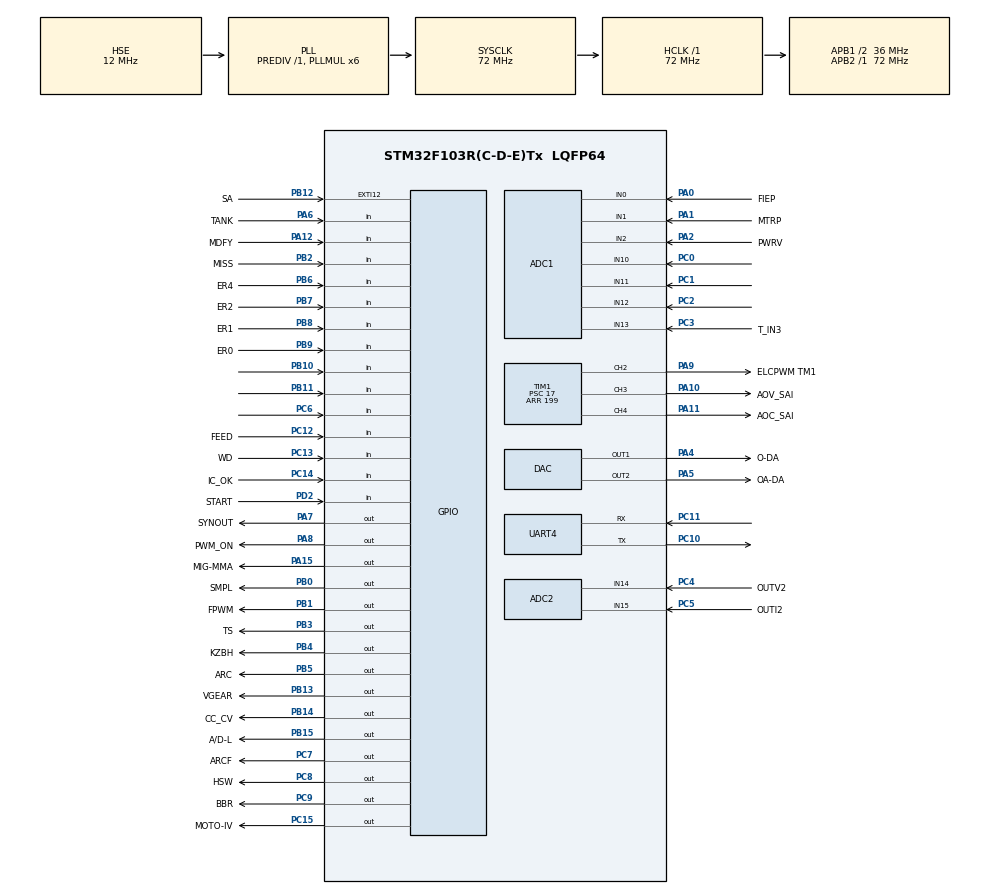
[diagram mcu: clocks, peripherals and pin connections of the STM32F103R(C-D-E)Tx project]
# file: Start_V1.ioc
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ADC1.Channel-0\#ChannelRegularConversion=ADC_CHANNEL_0
ADC1.Channel-1\#ChannelInjectedConversion=ADC_CHANNEL_12
ADC1.Channel-2\#ChannelInjectedConversion=ADC_CHANNEL_10
ADC1.Channel-3\#ChannelInjectedConversion=ADC_CHANNEL_11
ADC1.ContinuousConvMode=ENABLE
ADC1.EnableInjectedConversion=ENABLE
ADC1.InjNumberOfConversion=3
ADC1.InjectedConvMode=AutoInjected
ADC1.InjectedOffset-1\#ChannelInjectedConversion=0
ADC1.InjectedOffset-2\#ChannelInjectedConversion=0
ADC1.InjectedOffset-3\#ChannelInjectedConversion=0
ADC1.InjectedRank-1\#ChannelInjectedConversion=1
ADC1.InjectedRank-2\#ChannelInjectedConversion=2
ADC1.InjectedRank-3\#ChannelInjectedConversion=3
ADC1.NbrOfConversionFlag=1
ADC1.Rank-0\#ChannelRegularConversion=1
ADC1.SamplingTime-0\#ChannelRegularConversion=ADC_SAMPLETIME_7CYCLES_5
ADC1.SamplingTime-1\#ChannelInjectedConversion=ADC_SAMPLETIME_13CYCLES_5
ADC1.SamplingTime-2\#ChannelInjectedConversion=ADC_SAMPLETIME_13CYCLES_5
ADC1.SamplingTime-3\#ChannelInjectedConversion=ADC_SAMPLETIME_13CYCLES_5
ADC1.master=1
ADC2.Channel-8\#ChannelInjectedConversion=ADC_CHANNEL_15
ADC2.Channel-9\#ChannelRegularConversion=ADC_CHANNEL_14
ADC2.ContinuousConvMode=ENABLE
ADC2.EnableInjectedConversion=ENABLE
ADC2.EnableRegularConversion=ENABLE
ADC2.InjNumberOfConversion=1
ADC2.InjectedConvMode=AutoInjected
ADC2.InjectedOffset-8\#ChannelInjectedConversion=0
ADC2.InjectedRank-8\#ChannelInjectedConversion=1
ADC2.NbrOfConversionFlag=1
ADC2.Rank-9\#ChannelRegularConversion=1
ADC2.SamplingTime-8\#ChannelInjectedConversion=ADC_SAMPLETIME_41CYCLES_5
ADC2.SamplingTime-9\#ChannelRegularConversion=ADC_SAMPLETIME_41CYCLES_5
Mcu.Family=STM32F1
Mcu.Name=STM32F103R(C-D-E)Tx
Mcu.Package=LQFP64
NVIC.EXTI15_10_IRQn=true\:0\:0\:false\:false\:true\:true\:true\:true
NVIC.PriorityGroup=NVIC_PRIORITYGROUP_4
NVIC.TIM6_IRQn=true\:0\:0\:false\:false\:true\:true\:true\:true
NVIC.TIM7_IRQn=true\:0\:0\:false\:false\:true\:true\:true\:true
PA0-WKUP.GPIO_Label=FIEP
PA0-WKUP.Signal=ADCx_IN0
PA1.GPIO_Label=MTRP
PA1.Signal=ADCx_IN1
PA10.GPIO_Label=AOV_SAI
PA10.Signal=S_TIM1_CH3
PA11.GPIO_Label=AOC_SAI
PA11.Signal=S_TIM1_CH4
PA12.GPIO_Label=MDFY
PA12.Signal=GPIO_Input
PA15.GPIO_Label=MIG-MMA
PA15.Signal=GPIO_Output
PA2.GPIO_Label=PWRV
PA2.Signal=ADCx_IN2
PA4.GPIO_Label=O-DA
PA4.Signal=COMP_DAC1_group
PA5.GPIO_Label=OA-DA
PA5.Signal=COMP_DAC2_group
PA6.GPIO_Label=TANK
PA6.Signal=GPIO_Input
PA7.GPIO_Label=SYNOUT
PA7.Signal=GPIO_Output
PA8.GPIO_Label=PWM_ON
PA8.Signal=GPIO_Output
PA9.GPIO_Label=ELCPWM TM1
PA9.Signal=S_TIM1_CH2
PB0.GPIO_Label=SMPL
PB0.Signal=GPIO_Output
PB1.GPIO_Label=FPWM
PB1.Signal=GPIO_Output
PB10.Signal=GPIO_Input
PB11.Signal=GPIO_Input
PB12.GPIO_Label=SA
PB12.GPIO_ModeDefaultEXTI=GPIO_MODE_IT_RISING_FALLING
PB12.Signal=GPXTI12
PB13.GPIO_Label=VGEAR
PB13.Signal=GPIO_Output
PB14.GPIO_Label=CC_CV
PB14.Signal=GPIO_Output
PB15.GPIO_Label=A/D-L
PB15.Signal=GPIO_Output
PB2.GPIO_Label=MISS
PB2.Signal=GPIO_Input
PB3.GPIO_Label=TS
PB3.Signal=GPIO_Output
PB4.GPIO_Label=KZBH
PB4.Signal=GPIO_Output
PB5.GPIO_Label=ARC
PB5.Signal=GPIO_Output
PB6.GPIO_Label=ER4
PB6.Signal=GPIO_Input
PB7.GPIO_Label=ER2
PB7.Signal=GPIO_Input
PB8.GPIO_Label=ER1
PB8.Signal=GPIO_Input
PB9.GPIO_Label=ER0
PB9.Signal=GPIO_Input
PC0.Signal=ADCx_IN10
PC1.Signal=ADCx_IN11
PC10.Mode=Asynchronous
PC10.Signal=UART4_TX
PC11.Mode=Asynchronous
PC11.Signal=UART4_RX
PC12.GPIO_Label=FEED
PC12.Signal=GPIO_Input
PC13-TAMPER-RTC.GPIO_Label=WD
PC13-TAMPER-RTC.Signal=GPIO_Input
PC14-OSC32_IN.GPIO_Label=IC_OK
PC14-OSC32_IN.Signal=GPIO_Input
PC15-OSC32_OUT.GPIO_Label=MOTO-IV
PC15-OSC32_OUT.Signal=GPIO_Output
PC2.Signal=ADCx_IN12
PC3.GPIO_Label=T_IN3
PC3.Signal=ADCx_IN13
PC4.GPIO_Label=OUTV2
PC4.Signal=ADCx_IN14
PC5.GPIO_Label=OUTI2
PC5.Signal=ADCx_IN15
PC6.Signal=GPIO_Input
PC7.GPIO_Label=ARCF
PC7.Signal=GPIO_Output
PC8.GPIO_Label=HSW
PC8.Signal=GPIO_Output
PC9.GPIO_Label=BBR
PC9.Signal=GPIO_Output
PD0-OSC_IN.Mode=HSE-External-Oscillator
PD0-OSC_IN.Signal=RCC_OSC_IN
PD1-OSC_OUT.Mode=HSE-External-Oscillator
PD1-OSC_OUT.Signal=RCC_OSC_OUT
PD2.GPIO_Label=START
PD2.Signal=GPIO_Input
ProjectManager.HeapSize=0x200
ProjectManager.StackSize=0x400
ProjectManager.TargetToolchain=MDK-ARM V5.32
RCC.AHBFreq_Value=72000000
RCC.APB1CLKDivider=RCC_HCLK_DIV2
RCC.APB1Freq_Value=36000000
RCC.APB1TimFreq_Value=72000000
RCC.APB2Freq_Value=72000000
RCC.APB2TimFreq_Value=72000000
RCC.HCLKFreq_Value=72000000
RCC.HSE_VALUE=12000000
RCC.PLLMUL=RCC_PLL_MUL6
RCC.PLLSourceVirtual=RCC_PLLSOURCE_HSE
RCC.SYSCLKFreq_VALUE=72000000
RCC.SYSCLKSource=RCC_SYSCLKSOURCE_PLLCLK
RCC.USBFreq_Value=72000000
SH.ADCx_IN0.0=ADC1_IN0,IN0
SH.ADCx_IN1.0=ADC1_IN1,IN1
SH.ADCx_IN10.0=ADC1_IN10,IN10
SH.ADCx_IN11.0=ADC1_IN11,IN11
SH.ADCx_IN12.0=ADC1_IN12,IN12
SH.ADCx_IN13.0=ADC1_IN13,IN13
SH.ADCx_IN14.0=ADC2_IN14,IN14
SH.ADCx_IN15.0=ADC2_IN15,IN15
SH.ADCx_IN2.0=ADC1_IN2,IN2
SH.COMP_DAC1_group.0=DAC_OUT1,DAC_OUT1
SH.COMP_DAC2_group.0=DAC_OUT2,DAC_OUT2
SH.S_TIM1_CH2.0=TIM1_CH2,PWM Generation2 CH2
SH.S_TIM1_CH3.0=TIM1_CH3,PWM Generation3 CH3
SH.S_TIM1_CH4.0=TIM1_CH4,PWM Generation4 CH4
TIM1.Channel-PWM\ Generation2\ CH2=TIM_CHANNEL_2
TIM1.Channel-PWM\ Generation3\ CH3=TIM_CHANNEL_3
TIM1.Channel-PWM\ Generation4\ CH4=TIM_CHANNEL_4
TIM1.Period=199
TIM1.Prescaler=17
TIM6.Period=11
TIM6.Prescaler=35
TIM7.Period=99
TIM7.Prescaler=35
UART4.VirtualMode=Asynchronous
VP_SYS_VS_ND.Mode=No_Debug
VP_TIM1_VS_ClockSourceINT.Mode=Internal
VP_TIM6_VS_ClockSourceINT.Mode=Enable_Timer
VP_TIM7_VS_ClockSourceINT.Mode=Enable_Timer
board=custom

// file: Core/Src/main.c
/* USER CODE BEGIN Header */
/**
  ******************************************************************************
  * @file           : main.c
  * @brief          : Main program body
  ******************************************************************************
  * @attention
  *
  * Copyright (c) 2023 STMicroelectronics.
  * All rights reserved.
  *
  * This software is licensed under terms that can be found in the LICENSE file
  * in the root directory of this software component.
  * If no LICENSE file comes with this software, it is provided AS-IS.
  *
  ******************************************************************************
  */
/* USER CODE END Header */
#include "main.h"

/* USER CODE BEGIN Includes */

//#include "weld_struct.h"

/* USER CODE END Includes */

/* USER CODE BEGIN PD */

#define TS_On_state 1		//1 start
#define KZBH_On_state 1		//
#define ADI_On_state 1		//1 模拟  0 数字
#define MIGMMA_On_state 0			//1 手工焊   0 气保焊
#define MOTOIV_On_state 1
#define CCCV_On_state 0			//CC/CV 	1 OUT_I 0 OUT_V

#define DAC1_Value 2047

#if TS_On_state
	#define TS_state GPIO_PIN_SET
#elif	TS_On_state==0
	#define TS_state GPIO_PIN_RESET
#endif

#if KZBH_On_state
	#define KZBH_state GPIO_PIN_SET
#elif	KZBH_On_state==0
	#define KZBH_state GPIO_PIN_RESET
#endif

#if ADI_On_state
	#define ADI_state GPIO_PIN_SET
#elif ADI_On_state==0
	#define ADI_state GPIO_PIN_RESET
#endif

#if MIGMMA_On_state
	#define MIGMMA_state GPIO_PIN_SET
#elif	MIGMMA_On_state==0
	#define MIGMMA_state GPIO_PIN_RESET
#endif

#if MOTOIV_On_state
	#define MOTOIV_state GPIO_PIN_SET
#elif	MOTOIV_On_state==0
	#define MOTOIV_state GPIO_PIN_RESET
#endif

#if CCCV_On_state
	#define CCCV_state GPIO_PIN_SET
#elif	CCCV_On_state==0
	#define CCCV_state GPIO_PIN_RESET
#endif

/* USER CODE END PD */

ADC_HandleTypeDef hadc1;
ADC_HandleTypeDef hadc2;

DAC_HandleTypeDef hdac;

TIM_HandleTypeDef htim1;
TIM_HandleTypeDef htim6;
TIM_HandleTypeDef htim7;

UART_HandleTypeDef huart4;

/* USER CODE BEGIN PV */
uint8_t PWMON_State=0;			//PWMON启动标志符
uint8_t FPWM_State=0;			//FPWM标志符
uint8_t DA_State=0;				//DA启动标识符
uint8_t IO_Set=0;				//IO配置标志符
uint8_t DA_Set=1;				//DA配置标志符
uint8_t PWM_Set=1;				//PWM配置标志符
uint16_t ST_SAMPL_IT=0;			//ST采样标志符
uint16_t ALLSTATE_Set=0;		//各状态初始标志位
uint8_t SA_State=0;				//SA状态标志位
uint8_t UP_edge_signal=0;		//SA上升沿判断
uint8_t DOWN_edge_signal=0;		//SA下降沿判断
uint8_t Wave_control_signal=1;	//波形控制标识符
uint8_t Short_circuit_signal=0;
uint8_t Weld_Wire_Set=0;		//焊丝选取标志

//------------FB----------
uint16_t FB_FIEP[5]={0};
uint16_t FB_FIEP_PACK[15]={0};
volatile uint16_t FB_FIEP_NUM=0;
uint16_t FB_OUTI[5]={0};
uint16_t FB_OUTI_PACK[15]={0};
volatile uint16_t FB_OUTI_NUM=0;
uint16_t FB_OUTV[5]={0};
uint16_t FB_OUTV_PACK[15]={0};
volatile uint16_t FB_OUTV_NUM=0;
//------------ST-----------
uint16_t ST_FPWM[5]={0};
volatile uint16_t ST_FPWM_NUM=0;
uint16_t ST_EPWM[5]={0};
volatile uint16_t ST_EPWM_NUM=0;
uint16_t ST_OTDA[5]={0};
volatile uint16_t ST_OTDA_NUM=0;		//O-DA set

uint16_t ST_TEMP_1=0;		//SET_SAMPLE_TEMP
uint16_t ST_TEMP_2=0;
uint16_t ST_TEMP_3=0;
uint16_t EPWM_TEMP=0;

uint16_t AOC_SAI=0;
uint16_t AOV_SAI=0;

volatile uint8_t FEED_SLOW_Signal=0;	//1->ON 0->OFF
volatile uint8_t FEED_Growth_Signal=0;		//1->ON 0->OFF
volatile uint16_t FB_FIEP_I=0;
volatile int16_t FB_FIEP_D=0;

volatile uint8_t HQ_Detec_Back=0;
volatile uint8_t JS_Detec_Back=0;
volatile uint8_t ICOK_Detec_Back=0;

uint8_t HQ_temp[10]={0};
uint8_t JS_temp[10]={0};
uint8_t ICOK_temp[10]={0};
uint8_t HQ_state_temp=0;
uint8_t JS_state_temp=0;
uint8_t ICOK_state_temp=0;
uint8_t IOSP_IT=0;
uint8_t IOFB_IT=0;
uint8_t AVFB_IT=0;
volatile uint8_t res_count=0;

uint8_t SA_Prev=0;
uint16_t edge_count_it=0;

float Crt_div = 0;
float Vol_div = 0;
float Res_div = 0;

 GAS_WELDING_DATA Gas_a;
uint16_t* GMAW_GAS_Diam_Speed;
uint16_t* GMAW_GAS_Diam_Volt;
uint16_t* GMAW_GAS_Diam_Vc;
uint8_t* GMAW_GAS_Diam_Inductor;
uint8_t* GMAW_GAS_Diam_VSLOPE;

uint8_t i2c_temp=0;
//HAL_StatusTypeDef i2c_state=0;
//uint8_t i2c_buffer_write[32]={0};
//uint8_t i2c_buffer_recive[32]={0};
//uint8_t uart_buffer_recive[32]={0};

uint16_t TM7_count_temp=0;
uint16_t State_Delay_count=0;
uint16_t Edge_Delay_count=0;
uint16_t State_Delay_contain=0;
uint8_t inter_arc_signal=0;

extern uint16_t FPWM_Set;

extern uint16_t GMAW_GAS_Speed[50];
extern uint8_t GMAW_GAS_Inductor[50];
extern uint16_t GMAW_GAS_Vc[50];
extern uint8_t GMAW_GAS_VSLOPE[50];
extern uint16_t GMAW_GAS_Volt[50];

/* USER CODE END PV */

void SystemClock_Config(void);
static void MX_GPIO_Init(void);
static void MX_ADC1_Init(void);
static void MX_DAC_Init(void);
static void MX_TIM1_Init(void);
static void MX_ADC2_Init(void);
static void MX_TIM6_Init(void);
static void MX_TIM7_Init(void);
static void MX_UART4_Init(void);
/* USER CODE BEGIN PFP */
void Get_FB_FUN(void);
void Get_SP_FUN(void);
void Switch_State_FUN(void);
void Get_State_FUN(void);
void Weld_ERROR_Handler(void);
void Test_FUN(void);
void IT_Respond_FUN(void);
void Uart_Handler_FUN(void);

/* USER CODE END PFP */

/* USER CODE BEGIN 0 */
GMAWStatus_t GMAW_State=GMAW_STANDBY;

TASK_COMPONENTS Task_Comps[]=		//10 us per/count
{
//状态  计数  周期  函数
	{0,1,4,Get_FB_FUN},
	{0,3,4,Switch_State_FUN},
	{0,100,100,Get_State_FUN},
	{0,500,500,Get_SP_FUN},
//	{0,1,1,IT_Respond_FUN}
//	{0,2000,2000,Uart_Handler_FUN}
};

uint8_t Tasks_Max = sizeof(Task_Comps)/sizeof(Task_Comps[0]);

void Task_Pro_Handler_Callback(void)
{
	uint8_t i;
	for(i=0; i<Tasks_Max; i++)
	{
		if(Task_Comps[i].Run) /* If task can be run */
		{
			Task_Comps[i].Run = 0;    /* Flag clear 0 */
			Task_Comps[i].TaskHook();  /* Run task */
		}
	}
};

/* USER CODE END 0 */

int main(void)
{

  /* MCU Configuration--------------------------------------------------------*/

  /* Reset of all peripherals, Initializes the Flash interface and the Systick. */
  HAL_Init();

  /* Configure the system clock */
  SystemClock_Config();

  /* Initialize all configured peripherals */
  MX_GPIO_Init();
  MX_ADC1_Init();
  MX_DAC_Init();
  MX_TIM1_Init();
  MX_ADC2_Init();
  MX_TIM6_Init();
  MX_TIM7_Init();
  MX_UART4_Init();
  /* USER CODE BEGIN 2 */
	__HAL_RCC_AFIO_CLK_ENABLE();
	__HAL_AFIO_REMAP_SWJ_NOJTAG();

	IO_Set=1;
//	HAL_TIM_Base_Start_IT(&htim3);			//FPWM 启动
	FPWM_State=0;
//	HAL_TIM_PWM_Start(&htim1,TIM_CHANNEL_1);			//  PWMON 启动
	PWMON_State=0;

	HAL_TIM_Base_Start_IT(&htim7);		//Switch Delay Detect Timer 7

	HAL_TIM_PWM_Start(&htim1,TIM_CHANNEL_2);			//  ELCPWM 启动
	htim1.Instance->CCR2=100;

	HAL_TIM_PWM_Start(&htim1,TIM_CHANNEL_3);		//AOV_SAI
	htim1.Instance->CCR3=0;
	HAL_TIM_PWM_Start(&htim1,TIM_CHANNEL_4);		//AOC_SAI
	htim1.Instance->CCR4=0;

	HAL_ADC_Start(&hadc1);
	HAL_ADCEx_InjectedStart(&hadc1);
	HAL_ADC_Start(&hadc2);
	HAL_ADCEx_InjectedStart(&hadc2);
	/*--------------------ADC CONTROLL SCHEDULE-------------------------------------
	ADC1:		Regular Conv:
												RANK 1 :PA0 -> FIEP
					Inject	Conv:
												RANK 1 :PA1 -> MTRP/L
												RANK 2 :PA2 -> PWRV/I
												RANK 3: PC3	-> temp/V

	ADC2:		Regular Conv:
												RANK 1 :PC4 -> OUTV2
					Inject	Conv:
												RANK 1 :PC5 -> OUTI2
												RANK 2 :
												RANK 3:

	Renewal in 2023/12/25
	------------------------------------------------------------------------------*/

	HAL_DAC_SetValue(&hdac,DAC_CHANNEL_1,DAC_ALIGN_12B_R,DAC1_Value);
	HAL_DAC_Start(&hdac,DAC_CHANNEL_1);
	HAL_DAC_SetValue(&hdac,DAC_CHANNEL_2,DAC_ALIGN_12B_R,0);
	HAL_DAC_Start(&hdac,DAC_CHANNEL_2);

	if(IO_Set)			//IO Setting
	{
		HAL_GPIO_WritePin(GPIOB,GPIO_PIN_3,TS_state);		//TS
		HAL_GPIO_WritePin(GPIOB,GPIO_PIN_4,KZBH_state);		//KZBH
		HAL_GPIO_WritePin(GPIOB,GPIO_PIN_15,ADI_state);		//A/D-L
		HAL_GPIO_WritePin(GPIOA,GPIO_PIN_15,MIGMMA_state);		//MIGMMA
		HAL_GPIO_WritePin(GPIOB,GPIO_PIN_14,CCCV_state);

		HAL_GPIO_WritePin(GPIOC,GPIO_PIN_7,GPIO_PIN_RESET);	//ARCF
		HAL_GPIO_WritePin(GPIOC,GPIO_PIN_8,GPIO_PIN_RESET);	//HSW
		HAL_GPIO_WritePin(GPIOC,GPIO_PIN_9,GPIO_PIN_RESET);	//BBR

		HAL_GPIO_WritePin(GPIOA,GPIO_PIN_12,GPIO_PIN_RESET);	//MDFY
		HAL_GPIO_WritePin(GPIOB,GPIO_PIN_13,GPIO_PIN_RESET);	//VGEAR

		IO_Set--;			//configure in 1 times
	}

	ALLSTATE_Set ^=0x0001;

  /* USER CODE END 2 */

  /* Infinite loop */
  /* USER CODE BEGIN WHILE */
  while (1)
  {

		Task_Pro_Handler_Callback();

    /* USER CODE END WHILE */

  }
}

void SystemClock_Config(void)
{
  RCC_OscInitTypeDef RCC_OscInitStruct = {0};
  RCC_ClkInitTypeDef RCC_ClkInitStruct = {0};
  RCC_PeriphCLKInitTypeDef PeriphClkInit = {0};

  /** Initializes the RCC Oscillators according to the specified parameters
  * in the RCC_OscInitTypeDef structure.
  */
  RCC_OscInitStruct.OscillatorType = RCC_OSCILLATORTYPE_HSE;
  RCC_OscInitStruct.HSEState = RCC_HSE_ON;
  RCC_OscInitStruct.HSEPredivValue = RCC_HSE_PREDIV_DIV1;
  RCC_OscInitStruct.HSIState = RCC_HSI_ON;
  RCC_OscInitStruct.PLL.PLLState = RCC_PLL_ON;
  RCC_OscInitStruct.PLL.PLLSource = RCC_PLLSOURCE_HSE;
  RCC_OscInitStruct.PLL.PLLMUL = RCC_PLL_MUL6;
  if (HAL_RCC_OscConfig(&RCC_OscInitStruct) != HAL_OK)
  {
    Error_Handler();
  }

  /** Initializes the CPU, AHB and APB buses clocks
  */
  RCC_ClkInitStruct.ClockType = RCC_CLOCKTYPE_HCLK|RCC_CLOCKTYPE_SYSCLK
                              |RCC_CLOCKTYPE_PCLK1|RCC_CLOCKTYPE_PCLK2;
  RCC_ClkInitStruct.SYSCLKSource = RCC_SYSCLKSOURCE_PLLCLK;
  RCC_ClkInitStruct.AHBCLKDivider = RCC_SYSCLK_DIV1;
  RCC_ClkInitStruct.APB1CLKDivider = RCC_HCLK_DIV2;
  RCC_ClkInitStruct.APB2CLKDivider = RCC_HCLK_DIV1;

  if (HAL_RCC_ClockConfig(&RCC_ClkInitStruct, FLASH_LATENCY_2) != HAL_OK)
  {
    Error_Handler();
  }
  PeriphClkInit.PeriphClockSelection = RCC_PERIPHCLK_ADC;
  PeriphClkInit.AdcClockSelection = RCC_ADCPCLK2_DIV2;
  if (HAL_RCCEx_PeriphCLKConfig(&PeriphClkInit) != HAL_OK)
  {
    Error_Handler();
  }
}

static void MX_ADC1_Init(void)
{

  ADC_ChannelConfTypeDef sConfig = {0};
  ADC_InjectionConfTypeDef sConfigInjected = {0};

  /** Common config
  */
  hadc1.Instance = ADC1;
  hadc1.Init.ScanConvMode = ADC_SCAN_ENABLE;
  hadc1.Init.ContinuousConvMode = ENABLE;
  hadc1.Init.DiscontinuousConvMode = DISABLE;
  hadc1.Init.ExternalTrigConv = ADC_SOFTWARE_START;
  hadc1.Init.DataAlign = ADC_DATAALIGN_RIGHT;
  hadc1.Init.NbrOfConversion = 1;
  if (HAL_ADC_Init(&hadc1) != HAL_OK)
  {
    Error_Handler();
  }

  /** Configure Regular Channel
  */
  sConfig.Channel = ADC_CHANNEL_0;
  sConfig.Rank = ADC_REGULAR_RANK_1;
  sConfig.SamplingTime = ADC_SAMPLETIME_7CYCLES_5;
  if (HAL_ADC_ConfigChannel(&hadc1, &sConfig) != HAL_OK)
  {
    Error_Handler();
  }

  /** Configure Injected Channel
  */
  sConfigInjected.InjectedChannel = ADC_CHANNEL_12;
  sConfigInjected.InjectedRank = ADC_INJECTED_RANK_1;
  sConfigInjected.InjectedNbrOfConversion = 3;
  sConfigInjected.InjectedSamplingTime = ADC_SAMPLETIME_13CYCLES_5;
  sConfigInjected.ExternalTrigInjecConv = ADC_INJECTED_SOFTWARE_START;
  sConfigInjected.AutoInjectedConv = ENABLE;
  sConfigInjected.InjectedDiscontinuousConvMode = DISABLE;
  sConfigInjected.InjectedOffset = 0;
  if (HAL_ADCEx_InjectedConfigChannel(&hadc1, &sConfigInjected) != HAL_OK)
  {
    Error_Handler();
  }

  /** Configure Injected Channel
  */
  sConfigInjected.InjectedChannel = ADC_CHANNEL_10;
  sConfigInjected.InjectedRank = ADC_INJECTED_RANK_2;
  if (HAL_ADCEx_InjectedConfigChannel(&hadc1, &sConfigInjected) != HAL_OK)
  {
    Error_Handler();
  }

  /** Configure Injected Channel
  */
  sConfigInjected.InjectedChannel = ADC_CHANNEL_11;
  sConfigInjected.InjectedRank = ADC_INJECTED_RANK_3;
  if (HAL_ADCEx_InjectedConfigChannel(&hadc1, &sConfigInjected) != HAL_OK)
  {
    Error_Handler();
  }

}

static void MX_ADC2_Init(void)
{

  ADC_InjectionConfTypeDef sConfigInjected = {0};
  ADC_ChannelConfTypeDef sConfig = {0};

  /** Common config
  */
  hadc2.Instance = ADC2;
  hadc2.Init.ScanConvMode = ADC_SCAN_DISABLE;
  hadc2.Init.ContinuousConvMode = ENABLE;
  hadc2.Init.DiscontinuousConvMode = DISABLE;
  hadc2.Init.ExternalTrigConv = ADC_SOFTWARE_START;
  hadc2.Init.DataAlign = ADC_DATAALIGN_RIGHT;
  hadc2.Init.NbrOfConversion = 1;
  if (HAL_ADC_Init(&hadc2) != HAL_OK)
  {
    Error_Handler();
  }

  /** Configure Injected Channel
  */
  sConfigInjected.InjectedChannel = ADC_CHANNEL_15;
  sConfigInjected.InjectedRank = ADC_INJECTED_RANK_1;
  sConfigInjected.InjectedNbrOfConversion = 1;
  sConfigInjected.InjectedSamplingTime = ADC_SAMPLETIME_41CYCLES_5;
  sConfigInjected.ExternalTrigInjecConv = ADC_INJECTED_SOFTWARE_START;
  sConfigInjected.AutoInjectedConv = ENABLE;
  sConfigInjected.InjectedDiscontinuousConvMode = DISABLE;
  sConfigInjected.InjectedOffset = 0;
  if (HAL_ADCEx_InjectedConfigChannel(&hadc2, &sConfigInjected) != HAL_OK)
  {
    Error_Handler();
  }

  /** Configure Regular Channel
  */
  sConfig.Channel = ADC_CHANNEL_14;
  sConfig.Rank = ADC_REGULAR_RANK_1;
  sConfig.SamplingTime = ADC_SAMPLETIME_41CYCLES_5;
  if (HAL_ADC_ConfigChannel(&hadc2, &sConfig) != HAL_OK)
  {
    Error_Handler();
  }

}

static void MX_DAC_Init(void)
{

  DAC_ChannelConfTypeDef sConfig = {0};

  /** DAC Initialization
  */
  hdac.Instance = DAC;
  if (HAL_DAC_Init(&hdac) != HAL_OK)
  {
    Error_Handler();
  }

  /** DAC channel OUT1 config
  */
  sConfig.DAC_Trigger = DAC_TRIGGER_NONE;
  sConfig.DAC_OutputBuffer = DAC_OUTPUTBUFFER_ENABLE;
  if (HAL_DAC_ConfigChannel(&hdac, &sConfig, DAC_CHANNEL_1) != HAL_OK)
  {
    Error_Handler();
  }

  /** DAC channel OUT2 config
  */
  if (HAL_DAC_ConfigChannel(&hdac, &sConfig, DAC_CHANNEL_2) != HAL_OK)
  {
    Error_Handler();
  }

}

static void MX_TIM1_Init(void)
{

  TIM_ClockConfigTypeDef sClockSourceConfig = {0};
  TIM_MasterConfigTypeDef sMasterConfig = {0};
  TIM_OC_InitTypeDef sConfigOC = {0};
  TIM_BreakDeadTimeConfigTypeDef sBreakDeadTimeConfig = {0};

  htim1.Instance = TIM1;
  htim1.Init.Prescaler = 17;
  htim1.Init.CounterMode = TIM_COUNTERMODE_UP;
  htim1.Init.Period = 199;
  htim1.Init.ClockDivision = TIM_CLOCKDIVISION_DIV1;
  htim1.Init.RepetitionCounter = 0;
  htim1.Init.AutoReloadPreload = TIM_AUTORELOAD_PRELOAD_DISABLE;
  if (HAL_TIM_Base_Init(&htim1) != HAL_OK)
  {
    Error_Handler();
  }
  sClockSourceConfig.ClockSource = TIM_CLOCKSOURCE_INTERNAL;
  if (HAL_TIM_ConfigClockSource(&htim1, &sClockSourceConfig) != HAL_OK)
  {
    Error_Handler();
  }
  if (HAL_TIM_PWM_Init(&htim1) != HAL_OK)
  {
    Error_Handler();
  }
  sMasterConfig.MasterOutputTrigger = TIM_TRGO_RESET;
  sMasterConfig.MasterSlaveMode = TIM_MASTERSLAVEMODE_DISABLE;
  if (HAL_TIMEx_MasterConfigSynchronization(&htim1, &sMasterConfig) != HAL_OK)
  {
    Error_Handler();
  }
  sConfigOC.OCMode = TIM_OCMODE_PWM1;
  sConfigOC.Pulse = 0;
  sConfigOC.OCPolarity = TIM_OCPOLARITY_HIGH;
  sConfigOC.OCNPolarity = TIM_OCNPOLARITY_HIGH;
  sConfigOC.OCFastMode = TIM_OCFAST_DISABLE;
  sConfigOC.OCIdleState = TIM_OCIDLESTATE_RESET;
  sConfigOC.OCNIdleState = TIM_OCNIDLESTATE_RESET;
  if (HAL_TIM_PWM_ConfigChannel(&htim1, &sConfigOC, TIM_CHANNEL_2) != HAL_OK)
  {
    Error_Handler();
  }
  if (HAL_TIM_PWM_ConfigChannel(&htim1, &sConfigOC, TIM_CHANNEL_3) != HAL_OK)
  {
    Error_Handler();
  }
  if (HAL_TIM_PWM_ConfigChannel(&htim1, &sConfigOC, TIM_CHANNEL_4) != HAL_OK)
  {
    Error_Handler();
  }
  sBreakDeadTimeConfig.OffStateRunMode = TIM_OSSR_DISABLE;
  sBreakDeadTimeConfig.OffStateIDLEMode = TIM_OSSI_DISABLE;
  sBreakDeadTimeConfig.LockLevel = TIM_LOCKLEVEL_OFF;
  sBreakDeadTimeConfig.DeadTime = 0;
  sBreakDeadTimeConfig.BreakState = TIM_BREAK_DISABLE;
  sBreakDeadTimeConfig.BreakPolarity = TIM_BREAKPOLARITY_HIGH;
  sBreakDeadTimeConfig.AutomaticOutput = TIM_AUTOMATICOUTPUT_DISABLE;
  if (HAL_TIMEx_ConfigBreakDeadTime(&htim1, &sBreakDeadTimeConfig) != HAL_OK)
  {
    Error_Handler();
  }
  HAL_TIM_MspPostInit(&htim1);

}

static void MX_TIM6_Init(void)
{

  TIM_MasterConfigTypeDef sMasterConfig = {0};

  htim6.Instance = TIM6;
  htim6.Init.Prescaler = 35;
  htim6.Init.CounterMode = TIM_COUNTERMODE_UP;
  htim6.Init.Period = 11;
  htim6.Init.AutoReloadPreload = TIM_AUTORELOAD_PRELOAD_DISABLE;
  if (HAL_TIM_Base_Init(&htim6) != HAL_OK)
  {
    Error_Handler();
  }
  sMasterConfig.MasterOutputTrigger = TIM_TRGO_RESET;
  sMasterConfig.MasterSlaveMode = TIM_MASTERSLAVEMODE_DISABLE;
  if (HAL_TIMEx_MasterConfigSynchronization(&htim6, &sMasterConfig) != HAL_OK)
  {
    Error_Handler();
  }

}

static void MX_TIM7_Init(void)
{

  TIM_MasterConfigTypeDef sMasterConfig = {0};

  htim7.Instance = TIM7;
  htim7.Init.Prescaler = 35;
  htim7.Init.CounterMode = TIM_COUNTERMODE_UP;
  htim7.Init.Period = 99;
  htim7.Init.AutoReloadPreload = TIM_AUTORELOAD_PRELOAD_DISABLE;
  if (HAL_TIM_Base_Init(&htim7) != HAL_OK)
  {
    Error_Handler();
  }
  sMasterConfig.MasterOutputTrigger = TIM_TRGO_RESET;
  sMasterConfig.MasterSlaveMode = TIM_MASTERSLAVEMODE_DISABLE;
  if (HAL_TIMEx_MasterConfigSynchronization(&htim7, &sMasterConfig) != HAL_OK)
  {
    Error_Handler();
  }

}

static void MX_UART4_Init(void)
{

  huart4.Instance = UART4;
  huart4.Init.BaudRate = 115200;
  huart4.Init.WordLength = UART_WORDLENGTH_8B;
  huart4.Init.StopBits = UART_STOPBITS_1;
  huart4.Init.Parity = UART_PARITY_NONE;
  huart4.Init.Mode = UART_MODE_TX_RX;
  huart4.Init.HwFlowCtl = UART_HWCONTROL_NONE;
  huart4.Init.OverSampling = UART_OVERSAMPLING_16;
  if (HAL_UART_Init(&huart4) != HAL_OK)
  {
    Error_Handler();
  }

}

static void MX_GPIO_Init(void)
{
  GPIO_InitTypeDef GPIO_InitStruct = {0};

  /* GPIO Ports Clock Enable */
  __HAL_RCC_GPIOC_CLK_ENABLE();
  __HAL_RCC_GPIOD_CLK_ENABLE();
  __HAL_RCC_GPIOA_CLK_ENABLE();
  __HAL_RCC_GPIOB_CLK_ENABLE();

  /*Configure GPIO pin Output Level */
  HAL_GPIO_WritePin(GPIOC, MOTO_IV_Pin|ARCF_Pin|HSW_Pin|BBR_Pin, GPIO_PIN_RESET);

  /*Configure GPIO pin Output Level */
  HAL_GPIO_WritePin(GPIOA, SYNOUT_Pin|PWM_ON_Pin|MIG_MMA_Pin, GPIO_PIN_RESET);

  /*Configure GPIO pin Output Level */
  HAL_GPIO_WritePin(GPIOB, SMPL_Pin|FPWM_Pin|VGEAR_Pin|CC_CV_Pin
                          |A_D_L_Pin|TS_Pin|KZBH_Pin|ARC_Pin, GPIO_PIN_RESET);

  /*Configure GPIO pins : WD_Pin IC_OK_Pin PC6 FEED_Pin */
  GPIO_InitStruct.Pin = WD_Pin|IC_OK_Pin|GPIO_PIN_6|FEED_Pin;
  GPIO_InitStruct.Mode = GPIO_MODE_INPUT;
  GPIO_InitStruct.Pull = GPIO_NOPULL;
  HAL_GPIO_Init(GPIOC, &GPIO_InitStruct);

  /*Configure GPIO pins : MOTO_IV_Pin ARCF_Pin HSW_Pin BBR_Pin */
  GPIO_InitStruct.Pin = MOTO_IV_Pin|ARCF_Pin|HSW_Pin|BBR_Pin;
  GPIO_InitStruct.Mode = GPIO_MODE_OUTPUT_PP;
  GPIO_InitStruct.Pull = GPIO_NOPULL;
  GPIO_InitStruct.Speed = GPIO_SPEED_FREQ_LOW;
  HAL_GPIO_Init(GPIOC, &GPIO_InitStruct);

  /*Configure GPIO pins : TANK_Pin MDFY_Pin */
  GPIO_InitStruct.Pin = TANK_Pin|MDFY_Pin;
  GPIO_InitStruct.Mode = GPIO_MODE_INPUT;
  GPIO_InitStruct.Pull = GPIO_NOPULL;
  HAL_GPIO_Init(GPIOA, &GPIO_InitStruct);

  /*Configure GPIO pins : SYNOUT_Pin PWM_ON_Pin MIG_MMA_Pin */
  GPIO_InitStruct.Pin = SYNOUT_Pin|PWM_ON_Pin|MIG_MMA_Pin;
  GPIO_InitStruct.Mode = GPIO_MODE_OUTPUT_PP;
  GPIO_InitStruct.Pull = GPIO_NOPULL;
  GPIO_InitStruct.Speed = GPIO_SPEED_FREQ_LOW;
  HAL_GPIO_Init(GPIOA, &GPIO_InitStruct);

  /*Configure GPIO pins : SMPL_Pin FPWM_Pin VGEAR_Pin CC_CV_Pin
                           A_D_L_Pin TS_Pin KZBH_Pin ARC_Pin */
  GPIO_InitStruct.Pin = SMPL_Pin|FPWM_Pin|VGEAR_Pin|CC_CV_Pin
                          |A_D_L_Pin|TS_Pin|KZBH_Pin|ARC_Pin;
  GPIO_InitStruct.Mode = GPIO_MODE_OUTPUT_PP;
  GPIO_InitStruct.Pull = GPIO_NOPULL;
  GPIO_InitStruct.Speed = GPIO_SPEED_FREQ_LOW;
  HAL_GPIO_Init(GPIOB, &GPIO_InitStruct);

  /*Configure GPIO pins : MISS_Pin PB10 PB11 ER4_Pin
                           ER2_Pin ER1_Pin ER0_Pin */
  GPIO_InitStruct.Pin = MISS_Pin|GPIO_PIN_10|GPIO_PIN_11|ER4_Pin
                          |ER2_Pin|ER1_Pin|ER0_Pin;
  GPIO_InitStruct.Mode = GPIO_MODE_INPUT;
  GPIO_InitStruct.Pull = GPIO_NOPULL;
  HAL_GPIO_Init(GPIOB, &GPIO_InitStruct);

  /*Configure GPIO pin : SA_Pin */
  GPIO_InitStruct.Pin = SA_Pin;
  GPIO_InitStruct.Mode = GPIO_MODE_IT_RISING_FALLING;
  GPIO_InitStruct.Pull = GPIO_NOPULL;
  HAL_GPIO_Init(SA_GPIO_Port, &GPIO_InitStruct);

  /*Configure GPIO pin : START_Pin */
  GPIO_InitStruct.Pin = START_Pin;
  GPIO_InitStruct.Mode = GPIO_MODE_INPUT;
  GPIO_InitStruct.Pull = GPIO_NOPULL;
  HAL_GPIO_Init(START_GPIO_Port, &GPIO_InitStruct);

  /* EXTI interrupt init*/
  HAL_NVIC_SetPriority(EXTI15_10_IRQn, 0, 0);
  HAL_NVIC_EnableIRQ(EXTI15_10_IRQn);

}

/* USER CODE BEGIN 4 */
void Get_FB_FUN(void)
{
//	HAL_GPIO_WritePin(GPIOA,GPIO_PIN_7,GPIO_PIN_SET);

	uint8_t i,j,index=0;
	uint16_t	FB_FIEP_TEMP;
	uint16_t	FB_OUTI_TEMP;
	uint16_t 	FB_OUTV_TEMP;

	for(i=0;i<5;i++)		//Capture FIEP Analoge
	{
		FB_FIEP[i]=HAL_ADC_GetValue(&hadc1);
		FB_OUTI[i]=HAL_ADCEx_InjectedGetValue(&hadc2,ADC_INJECTED_RANK_1);
		FB_OUTV[i]=HAL_ADC_GetValue(&hadc2);
	}

	FB_FIEP_NUM=(FB_FIEP[0]+FB_FIEP[1]+FB_FIEP[2]+FB_FIEP[3]+FB_FIEP[4])/5;		//Average Cap
	FB_OUTI_NUM=(FB_OUTI[0]+FB_OUTI[1]+FB_OUTI[2]+FB_OUTI[3]+FB_OUTI[4])/5;		//Average Set
	FB_OUTV_NUM=(FB_OUTV[0]+FB_OUTV[1]+FB_OUTV[2]+FB_OUTV[3]+FB_OUTV[4])/5;

	//----------Average FeedBack function-----------
	FB_FIEP_TEMP=0;
	FB_OUTI_TEMP=0;
	FB_OUTV_TEMP=0;

	for(i=0;i<14;i++)
	{
		FB_FIEP_PACK[14-i]=FB_FIEP_PACK[14-i-1];
		FB_FIEP_TEMP+=FB_FIEP_PACK[14-i];							//TEMP:Sum & Average num
		FB_OUTI_PACK[14-i]=FB_OUTI_PACK[14-i-1];
		FB_OUTI_TEMP+=FB_OUTI_PACK[14-i];
		FB_OUTV_PACK[14-i]=FB_OUTV_PACK[14-i-1];
		FB_OUTV_TEMP+=FB_OUTV_PACK[14-i];
	}
	FB_FIEP_PACK[0]=FB_FIEP[0];
	FB_OUTI_PACK[0]=FB_OUTI[0];
	FB_OUTV_PACK[0]=FB_OUTV[0];

	FB_FIEP_TEMP=(FB_FIEP_PACK[0]+FB_FIEP_TEMP)/15;		//Average FIEP in 15 times
	FB_FIEP_I=FB_FIEP_TEMP;
	FB_OUTI_TEMP=(FB_OUTI_PACK[0]+FB_OUTI_TEMP)/15;
	AOC_SAI=FB_OUTI_TEMP;
	FB_OUTV_TEMP=(FB_OUTV[0]+FB_OUTV_TEMP)/15;
	AOV_SAI=FB_OUTV_TEMP;

	FB_FIEP_D=FB_FIEP_PACK[0]-FB_FIEP_PACK[1];	//D

	ICOK_state_temp-=ICOK_temp[IOFB_IT];

	if(HAL_GPIO_ReadPin(GPIOC,GPIO_PIN_14)==GPIO_PIN_SET)		//ICOK
		ICOK_temp[IOFB_IT]=1;
	else
		ICOK_temp[IOFB_IT]=0;

	ICOK_state_temp+=ICOK_temp[IOFB_IT];
	IOFB_IT=(IOFB_IT+1)%10;
	if(ICOK_state_temp>6){
		ICOK_Detec_Back=1;
		HAL_GPIO_WritePin(GPIOB,GPIO_PIN_5,GPIO_PIN_SET);
	}
	else{
		ICOK_Detec_Back=0;
		HAL_GPIO_WritePin(GPIOB,GPIO_PIN_5,GPIO_PIN_RESET);
	}

	/* SA Function  */
	if(Wave_control_signal==1){
		if(FB_OUTV_NUM*5/4<Gas_a.weld_volt-650){		//750 +BBR 650
			if(SA_Prev==1){
				HAL_GPIO_WritePin(GPIOA,GPIO_PIN_7,GPIO_PIN_SET);

				DOWN_edge_signal=0;		//ecl
				UP_edge_signal=1;
				edge_count_it=0;
			}
			SA_Prev=0;
		}
		else if(FB_OUTV_NUM*5/4>Gas_a.weld_volt-500){
			if(SA_Prev==0){
				HAL_GPIO_WritePin(GPIOA,GPIO_PIN_7,GPIO_PIN_RESET);
				DOWN_edge_signal=1;		//Correct Vol_up
				UP_edge_signal=0;
				edge_count_it=0;
			}
			SA_Prev=1;
		}
		else NULL;
	}

	if(GMAW_State==GMAW_STABILIZE)
	{

		if(DOWN_edge_signal==1){
			//VOL PLUS
			if(FB_OUTI_NUM>10){
				if(edge_count_it<2)      //10-》4-》2--3.25
					HAL_DAC_SetValue(&hdac,DAC_CHANNEL_1,DAC_ALIGN_12B_R,Gas_a.weld_volt);
				else {
					if(edge_count_it*Gas_a.weld_vslope+Gas_a.weld_volt>=2*Gas_a.weld_vslope+Gas_a.weld_vc+Gas_a.weld_volt+300) //
						HAL_DAC_SetValue(&hdac,DAC_CHANNEL_1,DAC_ALIGN_12B_R,Gas_a.weld_volt-300);
					else{
						if(Gas_a.weld_volt>Gas_a.weld_vc+600+ST_FPWM_NUM/4)
							HAL_DAC_SetValue(&hdac,DAC_CHANNEL_1,DAC_ALIGN_12B_R,Gas_a.weld_volt+Gas_a.weld_vc-(edge_count_it-2)*Gas_a.weld_vslope);
						else
							HAL_DAC_SetValue(&hdac,DAC_CHANNEL_1,DAC_ALIGN_12B_R,0);
					}
				}
				Short_circuit_signal=0;
			}
			else{
				HAL_DAC_SetValue(&hdac,DAC_CHANNEL_1,DAC_ALIGN_12B_R,2100);
				Short_circuit_signal=1;
			}

//			//BBR
//			if(edge_count_it>(220-Gas_a.weld_vslope*8) && Gas_a.weld_vslope>0 &&  Short_circuit_signal==0){
//				if((edge_count_it+1)%10==0)
//					HAL_GPIO_WritePin(GPIOC,GPIO_PIN_9,GPIO_PIN_SET);
//				if(edge_count_it%10==0)
//					HAL_GPIO_WritePin(GPIOC,GPIO_PIN_9,GPIO_PIN_RESET);
//			}

			edge_count_it++;
		}

		if(UP_edge_signal==1){
			//ECL PLUS
			if(edge_count_it<10)       //10-》5-》10  3.25 3.26
					edge_count_it++;
			else{
				if(Gas_a.weld_Inductor>10){     //40->20  3.26
					EPWM_TEMP=Gas_a.weld_Inductor*5/8;    //40->20  3.26
					htim1.Instance->CCR2=EPWM_TEMP;
				}
				else{
					EPWM_TEMP=0;
					htim1.Instance->CCR2=EPWM_TEMP;
				}
				UP_edge_signal=0;
				edge_count_it=0;
			}

		}

	}

//	HAL_GPIO_WritePin(GPIOA,GPIO_PIN_7,GPIO_PIN_RESET);
}

void Get_SP_FUN()
{
	uint16_t ST_EPWM_ADJUST=0;
	uint16_t ST_FPWM_ADJUST=0;
	uint16_t ST_EPWM_Container=0;

	ST_EPWM[ST_SAMPL_IT]=HAL_ADCEx_InjectedGetValue(&hadc1,ADC_INJECTED_RANK_1);//L_Cai
	ST_FPWM[ST_SAMPL_IT]=HAL_ADCEx_InjectedGetValue(&hadc1,ADC_INJECTED_RANK_2);//I_Cai
	ST_OTDA[ST_SAMPL_IT]=HAL_ADCEx_InjectedGetValue(&hadc1,ADC_INJECTED_RANK_3);//V_Cai

	ST_SAMPL_IT=(ST_SAMPL_IT+1)%5;

	ST_EPWM_NUM=(ST_EPWM[0]+ST_EPWM[1]+ST_EPWM[2]+ST_EPWM[3]+ST_EPWM[4])/5;//L_Cai
	ST_OTDA_NUM=(ST_OTDA[0]+ST_OTDA[1]+ST_OTDA[2]+ST_OTDA[3]+ST_OTDA[4])/5;//V_Cai
	ST_FPWM_NUM=(ST_FPWM[0]+ST_FPWM[1]+ST_FPWM[2]+ST_FPWM[3]+ST_FPWM[4])/5;//I_Cai

	if(ST_FPWM_NUM>300)
		ST_FPWM_ADJUST=(ST_FPWM_NUM*0.157f+5.73)/2-24;
	else
		ST_FPWM_ADJUST=0;
	if(ST_FPWM_ADJUST>196) ST_FPWM_ADJUST=196;

	//

	//take array form datesheet
	if(0){
		Gas_a.weld_speed=
		GMAW_GAS_Speed[ST_FPWM_ADJUST/4]+(GMAW_GAS_Speed[ST_FPWM_ADJUST/4+1]-GMAW_GAS_Speed[ST_FPWM_ADJUST/4])*(ST_FPWM_ADJUST%4)/4;
		Gas_a.weld_volt=
		GMAW_GAS_Volt[ST_FPWM_ADJUST/4]+(GMAW_GAS_Volt[ST_FPWM_ADJUST/4+1]-GMAW_GAS_Volt[ST_FPWM_ADJUST/4])*(ST_FPWM_ADJUST%4)/4;
		ST_EPWM_Container=GMAW_GAS_Inductor[ST_FPWM_ADJUST/4];
		Gas_a.weld_vc=GMAW_GAS_Vc[ST_FPWM_ADJUST/4];
		Gas_a.weld_vslope=GMAW_GAS_VSLOPE[ST_FPWM_ADJUST/4];

		if(ST_OTDA_NUM>=845)
			Gas_a.weld_volt=Gas_a.weld_volt+(ST_OTDA_NUM-845)/3;
		else{
			if(Gas_a.weld_volt>845-ST_OTDA_NUM)
				Gas_a.weld_volt=Gas_a.weld_volt-(845-ST_OTDA_NUM)/3;
			else
				Gas_a.weld_volt=0;
		}

		if(ST_EPWM_NUM>2000){
			ST_EPWM_ADJUST=(ST_EPWM_NUM-2000)/20;
			Gas_a.weld_Inductor=ST_EPWM_Container+ST_EPWM_ADJUST;
			if(Gas_a.weld_Inductor>200) Gas_a.weld_Inductor=200;
		}
		else{
			ST_EPWM_ADJUST=(2000-ST_EPWM_NUM)/20;
			if(ST_EPWM_ADJUST>ST_EPWM_Container)
				Gas_a.weld_Inductor=0;
			else
				Gas_a.weld_Inductor=ST_EPWM_Container-ST_EPWM_ADJUST;
		}

	}

	if(1)
	{
		/******************************
		PB10 ->LOW		PB11 ->HIGH		PC6->SYN_IN
		0				0				0

		000->	CO2_12
		001->	CO2_10
		010->	CO2_16
		011->	MAG_10
		100->	MAG_12
		101->	MAG_16
		110->	FLUX_12
		111->	FLUX_16

		******************************/
		if(HAL_GPIO_ReadPin(GPIOB,GPIO_PIN_10)==GPIO_PIN_RESET)	Weld_Wire_Set |= 0b00000100;	else	Weld_Wire_Set &= 0b11111011;
		if(HAL_GPIO_ReadPin(GPIOB,GPIO_PIN_11)==GPIO_PIN_RESET)	Weld_Wire_Set |= 0b00000010;	else	Weld_Wire_Set &= 0b11111101;
		if(HAL_GPIO_ReadPin(GPIOC,GPIO_PIN_6)==GPIO_PIN_RESET)	Weld_Wire_Set |= 0b00000001;	else	Weld_Wire_Set &= 0b11111110;

		switch(Weld_Wire_Set)
		{
			case 0:
				GMAW_GAS_Diam_Speed=GMAW_Wave_CO2_12_Speed;
				GMAW_GAS_Diam_Volt=GMAW_Wave_CO2_12_Volt;
				GMAW_GAS_Diam_Vc=GMAW_Wave_CO2_12_Vc;
				GMAW_GAS_Diam_Inductor=GMAW_Wave_CO2_12_Inductor;
				GMAW_GAS_Diam_VSLOPE=GMAW_Wave_CO2_12_VSLOPE;
				break;
			case 1:
				GMAW_GAS_Diam_Speed=GMAW_Wave_CO2_10_Speed;
				GMAW_GAS_Diam_Volt=GMAW_Wave_CO2_10_Volt;
				GMAW_GAS_Diam_Vc=GMAW_Wave_CO2_10_Vc;
				GMAW_GAS_Diam_Inductor=GMAW_Wave_CO2_10_Inductor;
				GMAW_GAS_Diam_VSLOPE=GMAW_Wave_CO2_10_VSLOPE;
				break;
			case 2:
				GMAW_GAS_Diam_Speed=GMAW_Wave_CO2_16_Speed;
				GMAW_GAS_Diam_Volt=GMAW_Wave_CO2_16_Volt;
				GMAW_GAS_Diam_Vc=GMAW_Wave_CO2_16_Vc;
				GMAW_GAS_Diam_Inductor=GMAW_Wave_CO2_16_Inductor;
				GMAW_GAS_Diam_VSLOPE=GMAW_Wave_CO2_16_VSLOPE;
				break;
			case 3:
				GMAW_GAS_Diam_Speed=GMAW_Wave_MAG_10_Speed;
				GMAW_GAS_Diam_Volt=GMAW_Wave_MAG_10_Volt;
				GMAW_GAS_Diam_Vc=GMAW_Wave_MAG_10_Vc;
				GMAW_GAS_Diam_Inductor=GMAW_Wave_MAG_10_Inductor;
				GMAW_GAS_Diam_VSLOPE=GMAW_Wave_MAG_10_VSLOPE;
				break;
			case 4:
				GMAW_GAS_Diam_Speed=GMAW_Wave_MAG_12_Speed;
				GMAW_GAS_Diam_Volt=GMAW_Wave_MAG_12_Volt;
				GMAW_GAS_Diam_Vc=GMAW_Wave_MAG_12_Vc;
				GMAW_GAS_Diam_Inductor=GMAW_Wave_MAG_12_Inductor;
				GMAW_GAS_Diam_VSLOPE=GMAW_Wave_MAG_12_VSLOPE;
				break;
			case 5:
				GMAW_GAS_Diam_Speed=GMAW_Wave_MAG_16_Speed;
				GMAW_GAS_Diam_Volt=GMAW_Wave_MAG_16_Volt;
				GMAW_GAS_Diam_Vc=GMAW_Wave_MAG_16_Vc;
				GMAW_GAS_Diam_Inductor=GMAW_Wave_MAG_16_Inductor;
				GMAW_GAS_Diam_VSLOPE=GMAW_Wave_MAG_16_VSLOPE;
				break;
			case 6:
				GMAW_GAS_Diam_Speed=GMAW_Flux_CO2_12_Speed;
				GMAW_GAS_Diam_Volt=GMAW_Flux_CO2_12_Volt;
				GMAW_GAS_Diam_Vc=GMAW_Flux_CO2_12_Vc;
				GMAW_GAS_Diam_Inductor=GMAW_Flux_CO2_12_Inductor;
				GMAW_GAS_Diam_VSLOPE=GMAW_Flux_CO2_12_VSLOPE;
				break;
			case 7:
				GMAW_GAS_Diam_Speed=GMAW_Flux_CO2_16_Speed;
				GMAW_GAS_Diam_Volt=GMAW_Flux_CO2_16_Volt;
				GMAW_GAS_Diam_Vc=GMAW_Flux_CO2_16_Vc;
				GMAW_GAS_Diam_Inductor=GMAW_Flux_CO2_16_Inductor;
				GMAW_GAS_Diam_VSLOPE=GMAW_Flux_CO2_16_VSLOPE;
				break;
		}

		Gas_a.weld_speed=
		GMAW_GAS_Diam_Speed[ST_FPWM_ADJUST/4]+(GMAW_GAS_Diam_Speed[ST_FPWM_ADJUST/4+1]-GMAW_GAS_Diam_Speed[ST_FPWM_ADJUST/4])*(ST_FPWM_ADJUST%4)/4;
		Gas_a.weld_volt=
		GMAW_GAS_Diam_Volt[ST_FPWM_ADJUST/4]+(GMAW_GAS_Diam_Volt[ST_FPWM_ADJUST/4+1]-GMAW_GAS_Diam_Volt[ST_FPWM_ADJUST/4])*(ST_FPWM_ADJUST%4)/4;
		ST_EPWM_Container=GMAW_GAS_Diam_Inductor[ST_FPWM_ADJUST/4];
		Gas_a.weld_vc=GMAW_GAS_Diam_Vc[ST_FPWM_ADJUST/4];
		Gas_a.weld_vslope=GMAW_GAS_Diam_VSLOPE[ST_FPWM_ADJUST/4];

		if(ST_OTDA_NUM>=845)
			Gas_a.weld_volt=Gas_a.weld_volt+(ST_OTDA_NUM-845)/3;
		else{
			if(Gas_a.weld_volt>845-ST_OTDA_NUM)
				Gas_a.weld_volt=Gas_a.weld_volt-(845-ST_OTDA_NUM)/3;
			else
				Gas_a.weld_volt=0;
		}

		if(ST_EPWM_NUM>2000){
			ST_EPWM_ADJUST=(ST_EPWM_NUM-2000)/20;
			Gas_a.weld_Inductor=ST_EPWM_Container+ST_EPWM_ADJUST;
			if(Gas_a.weld_Inductor>200) Gas_a.weld_Inductor=200;
		}
		else{
			ST_EPWM_ADJUST=(2000-ST_EPWM_NUM)/20;
			if(ST_EPWM_ADJUST>ST_EPWM_Container)
				Gas_a.weld_Inductor=0;
			else
				Gas_a.weld_Inductor=ST_EPWM_Container-ST_EPWM_ADJUST;
		}

	}

	// I/O Detec
	HQ_state_temp-=HQ_temp[IOSP_IT];
	JS_state_temp-=JS_temp[IOSP_IT];

	if(HAL_GPIO_ReadPin(GPIOD,GPIO_PIN_2)==GPIO_PIN_RESET)		//HQ
		HQ_temp[IOSP_IT]=1;
	else
		HQ_temp[IOSP_IT]=0;

	if(HAL_GPIO_ReadPin(GPIOC,GPIO_PIN_12)==GPIO_PIN_RESET)		//JS
		JS_temp[IOSP_IT]=1;
	else
		JS_temp[IOSP_IT]=0;

	HQ_state_temp+=HQ_temp[IOSP_IT];
	JS_state_temp+=JS_temp[IOSP_IT];

	IOSP_IT=(IOSP_IT+1)%10;

	if(HQ_state_temp>6)
		HQ_Detec_Back=1;
	else
		HQ_Detec_Back=0;

	if(JS_state_temp>6)
		JS_Detec_Back=1;
	else
		JS_Detec_Back=0;

	if(HAL_GPIO_ReadPin(GPIOA,GPIO_PIN_6)==GPIO_PIN_RESET){		//Wave Switch
		if(Wave_control_signal==1) Wave_control_signal=0;
	}
	else{														//不接线
		if(Wave_control_signal==0) Wave_control_signal=1;
	}

}

void Switch_State_FUN()
{
//	HAL_GPIO_WritePin(GPIOA,GPIO_PIN_7,GPIO_PIN_SET);

	switch(GMAW_State)
		{
		//----------------------待机状态/0
		case GMAW_STANDBY:

			if((ALLSTATE_Set & 0x0001) != 0){
				State_Delay_count=0;
				HAL_GPIO_WritePin(GPIOC,GPIO_PIN_8,GPIO_PIN_RESET);		//HSW_OFF
				ALLSTATE_Set ^= 0x0001;
			}

			if(DA_State==1){
//				HAL_TIM_PWM_Stop(&htim1,TIM_CHANNEL_1);
				DA_State=0;
			}
			if(FPWM_State==1){
				HAL_GPIO_WritePin(GPIOC,GPIO_PIN_15,GPIO_PIN_RESET);
				HAL_TIM_Base_Stop_IT(&htim6);
				FPWM_State=0;
			}
//			if(FPWM_State==0){
//				HAL_GPIO_WritePin(GPIOC,GPIO_PIN_15,GPIO_PIN_SET);
//				HAL_TIM_Base_Start_IT(&htim6);
//				FPWM_State=1;
//			}

			//检丝
			if(JS_Detec_Back==1){
				if(FPWM_State==0){
					HAL_GPIO_WritePin(GPIOC,GPIO_PIN_15,GPIO_PIN_SET);
					HAL_TIM_Base_Start_IT(&htim6);
					FPWM_State=1;
				}
			}
			if(JS_Detec_Back==0){
				if(FPWM_State==1){
					HAL_GPIO_WritePin(GPIOC,GPIO_PIN_15,GPIO_PIN_RESET);
					HAL_TIM_Base_Stop_IT(&htim6);
					FPWM_State=0;
				}
			}

			HAL_DAC_SetValue(&hdac,DAC_CHANNEL_1,DAC_ALIGN_12B_R,Gas_a.weld_volt/4+1600);

			//ARC RESET
			HAL_GPIO_WritePin(GPIOB,GPIO_PIN_5,GPIO_PIN_RESET);

			State_Delay_count++;

			if(HQ_Detec_Back==1){
				ALLSTATE_Set = 0x0002;
				GMAW_State++;
			}

				break;
		//----------------------逆变启动/1
		case GMAW_INVERTER_ON:
			if((ALLSTATE_Set & 0x0002) != 0){	//状态初始化
				State_Delay_count=0;
				ALLSTATE_Set ^= 0x0002;
			}

			if(DA_State==0)
				DA_State=1;
			if(DA_State==1)
				HAL_GPIO_TogglePin(GPIOA,GPIO_PIN_8);

			HAL_DAC_SetValue(&hdac,DAC_CHANNEL_1,DAC_ALIGN_12B_R,Gas_a.weld_volt/4+1600);

				GMAW_State++;

			if(HQ_Detec_Back==0)	GMAW_State=GMAW_STANDBY;	//焊枪检测
				break;
		//----------------------慢送丝/2
		case GMAW_RUN_IN:
			if((ALLSTATE_Set & 0x0004) != 0){
				ALLSTATE_Set ^= 0x0004;
			}

			if(FPWM_State==0){
				HAL_GPIO_WritePin(GPIOC,GPIO_PIN_15,GPIO_PIN_SET);
				HAL_TIM_Base_Start_IT(&htim6);
				FPWM_State=1;
			}
			if(ICOK_Detec_Back==0)
				FEED_SLOW_Signal=1;
			else
				FEED_SLOW_Signal=0;

			HAL_DAC_SetValue(&hdac,DAC_CHANNEL_1,DAC_ALIGN_12B_R,Gas_a.weld_volt/4+1600);		//ARC

			//DA heart beat
			if(DA_State==1)
				HAL_GPIO_TogglePin(GPIOA,GPIO_PIN_8);

			if(HQ_Detec_Back==0)	GMAW_State=GMAW_STANDBY;
			GMAW_State++;
				break;
			//----------------------ARC 检测/3	--------tip:空载状态
		case GMAW_ARC_DETECT:
			if((ALLSTATE_Set & 0x0008) != 0){
				ALLSTATE_Set ^= 0x0008;
			}

			if(HAL_GPIO_ReadPin(GPIOC,GPIO_PIN_14)==SET&&FB_OUTV_NUM>=100&&FB_OUTI_NUM>=100)	//IC_OK/FB_I/FB_V
			{
				HAL_GPIO_WritePin(GPIOB,GPIO_PIN_5,GPIO_PIN_SET);	//ARC signal C->S
				ALLSTATE_Set ^=0x0010;
				GMAW_State++;
			}

			HAL_DAC_SetValue(&hdac,DAC_CHANNEL_1,DAC_ALIGN_12B_R,Gas_a.weld_volt/4+1600);

			//DA heart beat
			if(DA_State==1)
				HAL_GPIO_TogglePin(GPIOA,GPIO_PIN_8);

			if(HQ_Detec_Back==0)  GMAW_State=GMAW_STANDBY;
			break;
		//----------------------高压引弧_热引弧/4
		case GMAW_FLASH_START:
			if((ALLSTATE_Set & 0x0010) != 0){

				State_Delay_count=0;
				State_Delay_contain=0;
				inter_arc_signal=0;

				ALLSTATE_Set ^= 0x0010;
			}

			HAL_DAC_SetValue(&hdac,DAC_CHANNEL_1,DAC_ALIGN_12B_R,Gas_a.weld_volt/4+1600);		//ARC

			if((State_Delay_count<100+Gas_a.weld_volt/2)&&(inter_arc_signal==0)){
				State_Delay_count++;
				State_Delay_contain=State_Delay_count;
			}
			if((State_Delay_count==100+Gas_a.weld_volt/2)||(FB_OUTI_NUM<1200))
				inter_arc_signal=1;
			if(inter_arc_signal==1){
				State_Delay_count++;
				if((State_Delay_count-State_Delay_contain>=150)&&FB_OUTI_NUM<200){
						State_Delay_count=0;
						inter_arc_signal=0;
						State_Delay_contain=0;
					}
					else{
						GMAW_State++;
						ALLSTATE_Set ^= 0x0020;
						State_Delay_count=0;
						inter_arc_signal=0;
					}
			}

			//DA heart beat
			if(DA_State==1)
				HAL_GPIO_TogglePin(GPIOA,GPIO_PIN_8);

			if(HQ_Detec_Back==0)  GMAW_State=GMAW_STANDBY;
			break;
		//----------------------建立稳定熔池/5
		case GMAW_STABILIZE:
			if((ALLSTATE_Set & 0x0020) != 0){

				if(FEED_Growth_Signal==0){
					FEED_Growth_Signal=1;
					FPWM_Set=400;
				}

				if(FEED_SLOW_Signal==1)
					FEED_SLOW_Signal=0;

				UP_edge_signal=0;
				DOWN_edge_signal=0;
				SA_State=0;
				Edge_Delay_count=0;
				Wave_control_signal=2;

				State_Delay_count=0;
				ALLSTATE_Set ^= 0x0020;
			}

			//ECL PLUS restore
			if(UP_edge_signal==0){
				EPWM_TEMP=Gas_a.weld_Inductor;
				htim1.Instance->CCR2=EPWM_TEMP;
			}

			//Wave Control Delay
			if(State_Delay_count<4000)
				State_Delay_count++;
			else if(State_Delay_count==4000){
				Wave_control_signal=0;
				State_Delay_count++;
			}
			else
				NULL;

//			//Resist display
//			Vol_div=FB_OUTV_NUM;
//			Crt_div=FB_OUTI_NUM;
//			Res_div=Vol_div/Crt_div*500;
//			HAL_DAC_SetValue(&hdac,DAC_CHANNEL_2,DAC_ALIGN_12B_R,(uint16_t)Res_div);

			//Vol PLUS	restore
			if(DOWN_edge_signal==0 && Short_circuit_signal==0){
				HAL_DAC_SetValue(&hdac,DAC_CHANNEL_1,DAC_ALIGN_12B_R,Gas_a.weld_volt);
				HAL_GPIO_WritePin(GPIOC,GPIO_PIN_9,GPIO_PIN_RESET);	//deleta
			}

			//TEMPER Detec
			if(HAL_GPIO_ReadPin(GPIOC,GPIO_PIN_13)==GPIO_PIN_SET)
				GMAW_State=GMAW_ERROR;

			//DA heart beat
			if(DA_State==1)
				HAL_GPIO_TogglePin(GPIOA,GPIO_PIN_8);

			if(HQ_Detec_Back==0)  GMAW_State++;
			break;
		//----------------------点焊时暂停电机/6
		case GMAW_DWELL:
			if((ALLSTATE_Set & 0x0040) != 0){
				ALLSTATE_Set ^= 0x0040;
			}

			//DA heart beat
			if(DA_State==1)
				HAL_GPIO_TogglePin(GPIOA,GPIO_PIN_8);

			GMAW_State++;
			break;
		//----------------------结束阶段	/7
		case GMAW_END_STAGE:
			if((ALLSTATE_Set & 0x0080) != 0){
				ALLSTATE_Set ^= 0x0080;
			}

			if(FPWM_State==1){		//关闭电机
				HAL_GPIO_WritePin(GPIOC,GPIO_PIN_15,GPIO_PIN_RESET);
				HAL_TIM_Base_Stop_IT(&htim6);
				FPWM_State=0;
			}

			//DA heart beat
			if(DA_State==1)
				HAL_GPIO_TogglePin(GPIOA,GPIO_PIN_8);

			ALLSTATE_Set ^= 0x0100;
			GMAW_State++;
			break;
			//----------------------电机停止时降低输出电压/8   bug_log:概率卡死在次状态
		case GMAW_BURN_BACK:
			if((ALLSTATE_Set & 0x0100) != 0){
				State_Delay_count=0;
				ALLSTATE_Set ^= 0x0100;
			}

			State_Delay_count++;
			HAL_DAC_SetValue(&hdac,DAC_CHANNEL_1,DAC_ALIGN_12B_R,Gas_a.weld_volt/4+500);

			//DA heart beat
			if(DA_State==1)
				HAL_GPIO_TogglePin(GPIOA,GPIO_PIN_8);

			if(State_Delay_count>=1000+Gas_a.weld_speed/2)
				GMAW_State=GMAW_STANDBY;
			break;
		//----------------------电流冲击FFT	/9
		case GMAW_WIRE_SHARP:
			if((ALLSTATE_Set & 0x0200) != 0){
				ALLSTATE_Set ^= 0x0200;
			}

			break;
		//----------------------焊接故障/10
		case GMAW_ERROR:
			if((ALLSTATE_Set & 0x0400) != 0){
				ALLSTATE_Set ^= 0x0400;
			}

			if(DA_State==1){
				DA_State=0;
			}
			if(FPWM_State==1){
				HAL_GPIO_WritePin(GPIOC,GPIO_PIN_15,GPIO_PIN_RESET);
				HAL_TIM_Base_Stop_IT(&htim6);
				FPWM_State=0;
			}

			if(HAL_GPIO_ReadPin(GPIOC,GPIO_PIN_13)==GPIO_PIN_RESET)
				GMAW_State=GMAW_STANDBY;

			break;
		}
//	HAL_GPIO_WritePin(GPIOA,GPIO_PIN_7,GPIO_PIN_RESET);
}

void Get_State_FUN(void)
{

	if(PWM_Set)			//PWM Setting
		{
			if(GMAW_State!=GMAW_STABILIZE)
			{
				EPWM_TEMP=Gas_a.weld_Inductor;
				htim1.Instance->CCR2=EPWM_TEMP;
			}

			htim1.Instance->CCR3=AOV_SAI/20;
			htim1.Instance->CCR4=AOC_SAI/20;
		}

}

void HAL_GPIO_EXTI_Callback(uint16_t GPIO_Pin)
{
	if(GMAW_State==GMAW_STABILIZE&&Wave_control_signal==1){

		if(HAL_GPIO_ReadPin(GPIOB,GPIO_PIN_12)==GPIO_PIN_SET)
			if(FB_OUTV_NUM>700+ST_FPWM_NUM/8&&Short_circuit_signal==0)
				{
					HAL_GPIO_WritePin(GPIOC,GPIO_PIN_7,GPIO_PIN_SET);	//ARCF SET
//					HAL_GPIO_WritePin(GPIOC,GPIO_PIN_9,GPIO_PIN_SET);	//BBR SET
					res_count=1;
				}

		if(HAL_GPIO_ReadPin(GPIOB,GPIO_PIN_12) == GPIO_PIN_SET){
			DOWN_edge_signal=0;
			Short_circuit_signal=0;
			if(UP_edge_signal==0)
				edge_count_it=0;

		}

	}

}

void IT_Respond_FUN(void)
{
	if(res_count==1)
		res_count++;
	else if(res_count==2){
		HAL_GPIO_WritePin(GPIOC,GPIO_PIN_7,GPIO_PIN_RESET);
		res_count=0;
	}

}

void Uart_Handler_FUN(void)
{
	uint8_t i_sum=0;
	uint32_t i2c_error=0;

//	for(int i=0;i<8;i++)
//		i2c_buffer_write[i]=i+2;
//
	/*
		I2C device type identifier "1010"(A hex) in bits 7 through 4   ---> 1010 0000  =0xA0

		AT24C04C Memory  32 pages of 16 Bytes each
		AT24C08C Memory  64 pages of 16 Bytes each

	*/
	//  1.I2C设备号指针  2.从设备(E2R)地址  3.从机寄存器起始地址 4.从机寄存器地址长度8b/16b 5.需写入数据起始地址 6.Size 7.TimeOut
//	if(i2c_temp==0)
//		i2c_state=HAL_I2C_Mem_Write(&hi2c2,0xA0,i_sum,I2C_MEMADD_SIZE_8BIT,&(i2c_buffer_write[i_sum]),8,0);
//
//	i_sum=0;
//	if(i2c_temp==1)
//		if(i2c_state==HAL_OK)
//			i2c_state=HAL_I2C_Mem_Read(&hi2c2,0xA1,i_sum,I2C_MEMADD_SIZE_8BIT,&(i2c_buffer_recive[i_sum]),8,0);
//
//	if(i2c_state==HAL_ERROR)
//		i2c_error=hi2c2.ErrorCode;
//
//	i2c_temp=(i2c_temp+1)%2;
//

	if(1)
		Wave_control_signal=1;

}

/* USER CODE END 4 */

void Error_Handler(void)
{
  __disable_irq();
  while (1)
  {
  }
}
